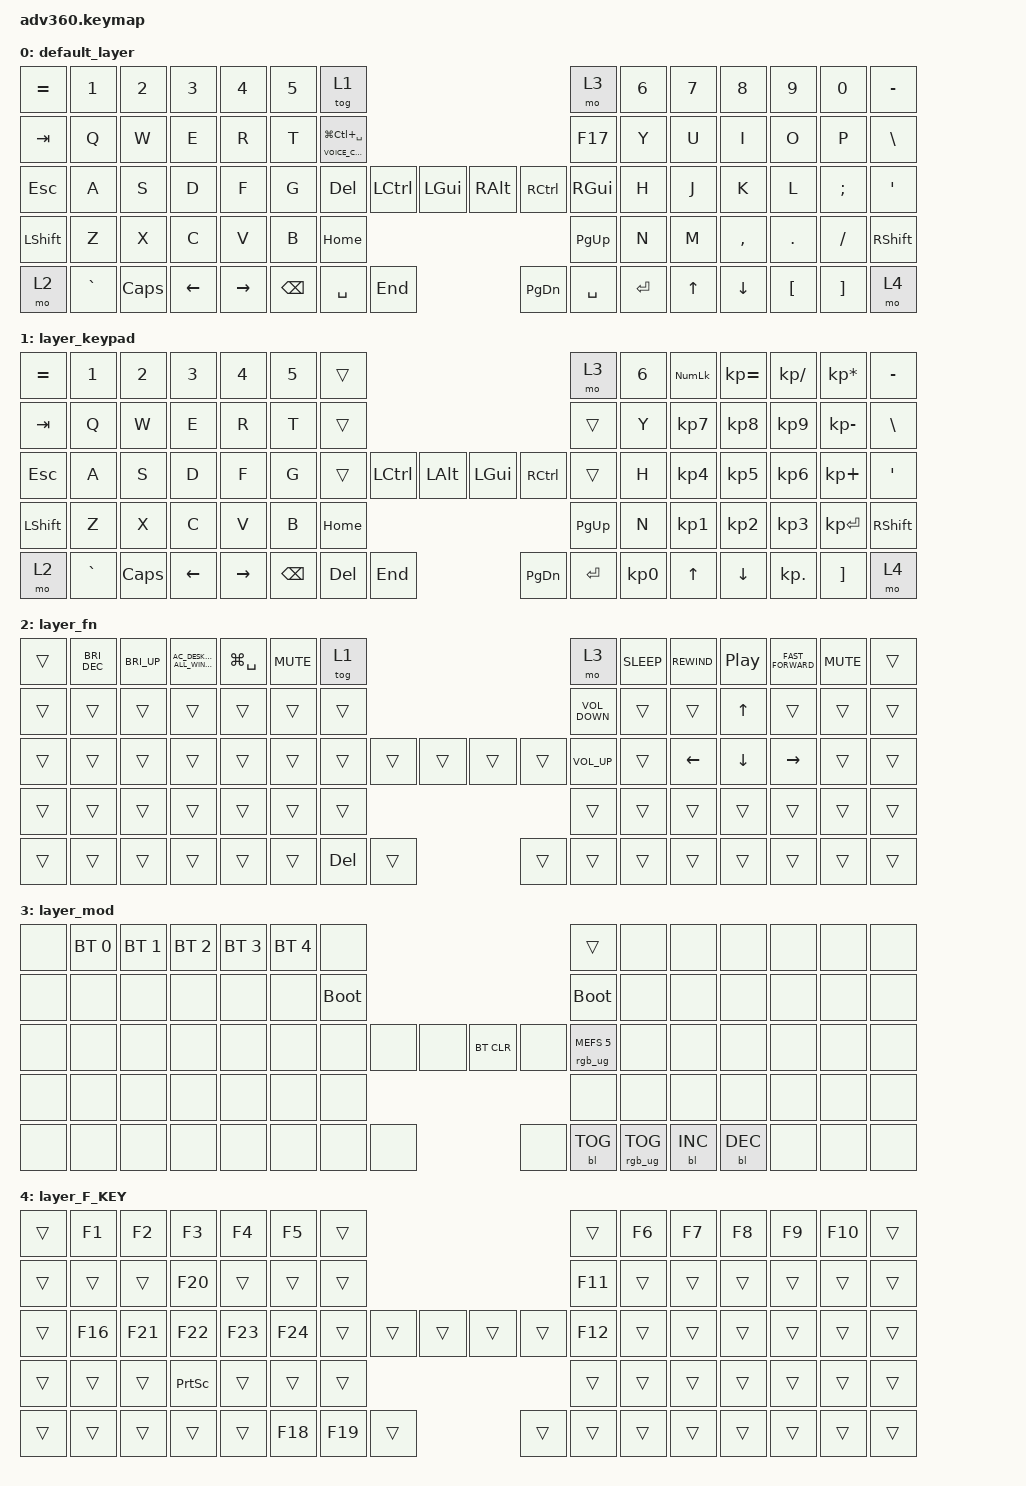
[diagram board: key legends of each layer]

/*
 * Copyright (c) 2020 The ZMK Contributors
 *
 * SPDX-License-Identifier: MIT
 */


/* THIS FILE WAS GENERATED!
 *
 * This file was generated automatically. You may or may not want to
 * edit it directly.
 */

#include <behaviors.dtsi>
#include <dt-bindings/zmk/keys.h>
#include <dt-bindings/zmk/bt.h>
#include <dt-bindings/zmk/rgb.h>
#include <dt-bindings/zmk/backlight.h>

/ {
  behaviors {
    #include "macros.dtsi"

    hm: homerow_mods {
        compatible = "zmk,behavior-hold-tap";
        label = "HOMEROW_MODS";
        #binding-cells = <2>;
        tapping-term-ms = <200>;
        quick_tap_ms = <175>;
        flavor = "tap-preferred";
        bindings = <&kp>, <&kp>;
    };
  };

    keymap {
        compatible = "zmk,keymap";


        default_layer {
            bindings = <
 &kp EQUAL     &kp N1    &kp N2    &kp N3     &kp N4  &kp N5                       &tog 1                                                                 &mo 3  &kp N6  &kp N7     &kp N8    &kp N9    &kp N0  &kp MINUS
   &kp TAB      &kp Q     &kp W     &kp E      &kp R   &kp T            &mt C_VOICE_COMMAND LG(LC(SPACE))                                                               &kp F17   &kp Y   &kp U      &kp I     &kp O     &kp P   &kp BSLH
   &kp ESC      &kp A     &kp S     &kp D      &kp F   &kp G                      &kp DEL  &kp LCTRL  &kp LGUI                   &kp RALT  &kp RCTRL   &kp RGUI   &kp H   &kp J      &kp K     &kp L  &kp SEMI    &kp SQT
 &kp LSHFT      &kp Z     &kp X     &kp C      &kp V   &kp B                                          &kp HOME                  &kp PG_UP                         &kp N   &kp M  &kp COMMA   &kp DOT  &kp FSLH  &kp RSHFT
     &mo 2  &kp GRAVE  &kp CAPS  &kp LEFT  &kp RIGHT                        &kp BACKSPACE  &kp SPACE   &kp END                  &kp PG_DN  &kp SPACE  &kp ENTER          &kp UP   &kp DOWN  &kp LBKT  &kp RBKT      &mo 4
            >;
        };

        layer_keypad {
            bindings = <
 &kp EQUAL     &kp N1    &kp N2    &kp N3     &kp N4  &kp N5              &trans                                                                 &mo 3  &kp N6  &kp KP_NUM  &kp KP_EQUAL  &kp KP_DIVIDE  &kp KP_MULTIPLY  &kp MINUS
   &kp TAB      &kp Q     &kp W     &kp E      &kp R   &kp T              &trans                                                                &trans   &kp Y   &kp KP_N7     &kp KP_N8      &kp KP_N9     &kp KP_MINUS   &kp BSLH
   &kp ESC      &kp A     &kp S     &kp D      &kp F   &kp G              &trans  &kp LCTRL  &kp LALT                   &kp LGUI  &kp RCTRL     &trans   &kp H   &kp KP_N4     &kp KP_N5      &kp KP_N6      &kp KP_PLUS    &kp SQT
 &kp LSHFT      &kp Z     &kp X     &kp C      &kp V   &kp B                                 &kp HOME                  &kp PG_UP                         &kp N   &kp KP_N1     &kp KP_N2      &kp KP_N3     &kp KP_ENTER  &kp RSHFT
     &mo 2  &kp GRAVE  &kp CAPS  &kp LEFT  &kp RIGHT                    &kp BSPC    &kp DEL   &kp END                  &kp PG_DN  &kp ENTER  &kp KP_N0              &kp UP      &kp DOWN     &kp KP_DOT         &kp RBKT      &mo 4
            >;
        };

        layer_fn {
            bindings = <
 &trans  &kp C_BRIGHTNESS_DEC  &kp C_BRI_UP  &kp C_AC_DESKTOP_SHOW_ALL_WINDOWS  &kp LG(SPACE)  &kp C_MUTE            &tog 1                                                               &mo 3  &kp C_SLEEP  &kp C_REWIND  &kp C_PLAY_PAUSE  &kp C_FAST_FORWARD  &kp C_MUTE  &trans
 &trans                &trans        &trans                             &trans         &trans      &trans            &trans                                                   &kp C_VOLUME_DOWN       &trans        &trans            &kp UP              &trans      &trans  &trans
 &trans                &trans        &trans                             &trans         &trans      &trans            &trans   &trans  &trans                  &trans  &trans    &kp C_VOLUME_UP       &trans      &kp LEFT          &kp DOWN           &kp RIGHT      &trans  &trans
 &trans                &trans        &trans                             &trans         &trans      &trans                             &trans                  &trans                                  &trans        &trans            &trans              &trans      &trans  &trans
 &trans                &trans        &trans                             &trans         &trans                        &trans  &kp DEL  &trans                  &trans  &trans             &trans                     &trans            &trans              &trans      &trans  &trans
            >;
        };

        layer_mod {
            bindings = <
  &none  &bt BT_SEL 0  &bt BT_SEL 1  &bt BT_SEL 2  &bt BT_SEL 3  &bt BT_SEL 4                  &none                                                                          &trans   &none       &none       &none   &none   &none   &none
  &none         &none         &none         &none         &none         &none            &bootloader                                                                     &bootloader   &none       &none       &none   &none   &none   &none
  &none         &none         &none         &none         &none         &none                  &none   &none   &none                  &bt BT_CLR       &none  &rgb_ug RGB_MEFS_CMD 5   &none       &none       &none   &none   &none   &none
  &none         &none         &none         &none         &none         &none                                  &none                       &none                                       &none       &none       &none   &none   &none   &none
  &none         &none         &none         &none         &none                                &none   &none   &none                       &none  &bl BL_TOG         &rgb_ug RGB_TOG          &bl BL_INC  &bl BL_DEC   &none   &none   &none
            >;
        };

        layer_F_KEY {
            bindings = <
 &trans   &kp F1   &kp F2           &kp F3   &kp F4   &kp F5             &trans                                                    &trans  &kp F6  &kp F7  &kp F8  &kp F9  &kp F10  &trans
 &trans   &trans   &trans          &kp F20   &trans   &trans             &trans                                                   &kp F11  &trans  &trans  &trans  &trans   &trans  &trans
 &trans  &kp F16  &kp F21          &kp F22  &kp F23  &kp F24             &trans   &trans  &trans                  &trans  &trans  &kp F12  &trans  &trans  &trans  &trans   &trans  &trans
 &trans   &trans   &trans  &kp PRINTSCREEN   &trans   &trans                              &trans                  &trans                   &trans  &trans  &trans  &trans   &trans  &trans
 &trans   &trans   &trans           &trans   &trans                     &kp F18  &kp F19  &trans                  &trans  &trans   &trans          &trans  &trans  &trans   &trans  &trans
            >;
        };

    };
};
